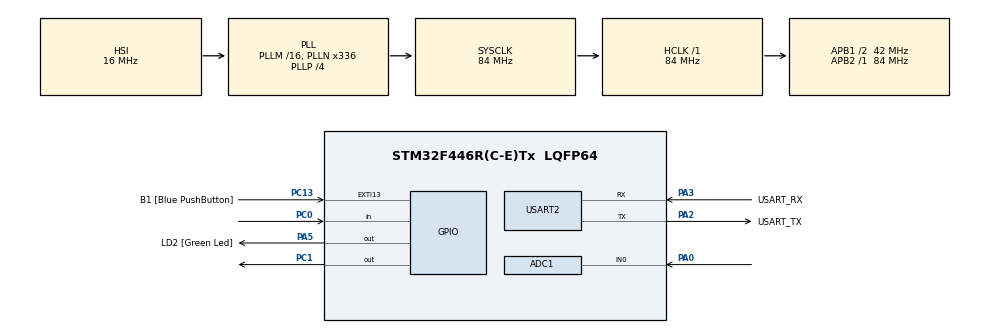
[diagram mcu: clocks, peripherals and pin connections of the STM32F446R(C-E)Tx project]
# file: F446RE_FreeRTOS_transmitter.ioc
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Mcu.Family=STM32F4
PH0-OSC_IN.Signal=RCC_OSC_IN
VP_SYS_VS_tim6.Mode=TIM6
RCC.CortexFreq_Value=84000000
ADC1.ContinuousConvMode=ENABLE
NVIC.TIM6_DAC_IRQn=true\:0\:0\:false\:false\:true\:false\:false\:true
PA14.GPIO_Label=TCK
PC13.GPIO_Label=B1 [Blue PushButton]
RCC.SYSCLKSource=RCC_SYSCLKSOURCE_PLLCLK
ProjectManager.StackSize=0x400
VP_FREERTOS_VS_CMSIS_V2.Mode=CMSIS_V2
RCC.HCLKFreq_Value=84000000
RCC.APB2TimFreq_Value=84000000
RCC.AHBFreq_Value=84000000
PH0-OSC_IN.Mode=HSE-External-Oscillator
RCC.HSE_VALUE=8000000
ADC1.ScanConvMode=DISABLE
PC14-OSC32_IN.Mode=LSE-External-Oscillator
PA14.Mode=Serial_Wire
SH.ADCx_IN0.0=ADC1_IN0,IN0
RCC.FLatency-AdvancedSettings=FLASH_LATENCY_2
PH1-OSC_OUT.Mode=HSE-External-Oscillator
Mcu.Package=LQFP64
NVIC.TimeBase=TIM6_DAC_IRQn
USART2.VirtualMode=VM_ASYNC
PA2.GPIO_Label=USART_TX
NVIC.TimeBaseIP=TIM6
RCC.APB1TimFreq_Value=84000000
PC0.GPIO_PuPd=GPIO_PULLUP
ADC1.EOCSelection=ADC_EOC_SEQ_CONV
PA3.Signal=USART2_RX
PB3.GPIO_Label=SWO
PC15-OSC32_OUT.Mode=LSE-External-Oscillator
FREERTOS.Tasks01=NotUsedTask,8,128,StartNotUsedTask,Default,NULL,Dynamic,NULL,NULL
PC13.Signal=GPXTI13
PC0.Signal=GPIO_Input
RCC.APB1CLKDivider=RCC_HCLK_DIV2
PC14-OSC32_IN.Signal=RCC_OSC32_IN
PA0-WKUP.Signal=ADCx_IN0
PA13.Signal=SYS_JTMS-SWDIO
PA3.Mode=Asynchronous
ProjectManager.TargetToolchain=STM32CubeIDE
ADC1.Channel-1\#ChannelRegularConversion=ADC_CHANNEL_0
RCC.USBFreq_Value=168000000
PC15-OSC32_OUT.Signal=RCC_OSC32_OUT
PA5.Signal=GPIO_Output
board=NUCLEO-F446RE
RCC.VCOOutputFreq_Value=336000000
RCC.APB2Freq_Value=84000000
PH1-OSC_OUT.Signal=RCC_OSC_OUT
ADC1.NbrOfConversion=1
PA13.Mode=Serial_Wire
Mcu.Name=STM32F446R(C-E)Tx
PA13.GPIO_Label=TMS
PA2.Signal=USART2_TX
RCC.48MHZClocksFreq_Value=84000000
PB3.Signal=SYS_JTDO-SWO
ADC1.SamplingTime-1\#ChannelRegularConversion=ADC_SAMPLETIME_112CYCLES
RCC.SYSCLKFreq_VALUE=84000000
ADC1.master=1
PA5.GPIO_Label=LD2 [Green Led]
PC13.GPIO_ModeDefaultEXTI=GPIO_MODE_IT_FALLING
ADC1.Rank-1\#ChannelRegularConversion=1
PA14.Signal=SYS_JTCK-SWCLK
ProjectManager.HeapSize=0x200
RCC.HSI_VALUE=16000000
RCC.PLLP=RCC_PLLP_DIV4
NVIC.PriorityGroup=NVIC_PRIORITYGROUP_4
ADC1.NbrOfConversionFlag=1
RCC.PLLN=336
PA2.Mode=Asynchronous
RCC.APB1Freq_Value=42000000
PC1.Signal=GPIO_Output
PA3.GPIO_Label=USART_RX

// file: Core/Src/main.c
/* USER CODE BEGIN Header */
/**
 ******************************************************************************
 * @file           : main.c
 * @brief          : Main program body
 ******************************************************************************
 * @attention
 *
 * <h2><center>&copy; Copyright (c) 2021 STMicroelectronics.
 * All rights reserved.</center></h2>
 *
 * This software component is licensed by ST under BSD 3-Clause license,
 * the "License"; You may not use this file except in compliance with the
 * License. You may obtain a copy of the License at:
 *                        opensource.org/licenses/BSD-3-Clause
 *
 ******************************************************************************
 */
/* USER CODE END Header */
#include "main.h"
#include "cmsis_os.h"

/* USER CODE BEGIN Includes */
#include <stdio.h>
#include <string.h>
#include "FreeRTOS.h"
#include "queue.h"
#include "semphr.h"
#include "main_defs.h"
#include "protocol.h"
#include "app_sema.h"
#include "app_queue.h"
#include "app_tasks.h"
#include "app_tests.h"
#include "app_uart.h"

/* USER CODE END Includes */

ADC_HandleTypeDef hadc1;

UART_HandleTypeDef huart2;

/* Definitions for NotUsedTask */
osThreadId_t NotUsedTaskHandle;
const osThreadAttr_t NotUsedTask_attributes = {
  .name = "NotUsedTask",
  .stack_size = 128 * 4,
  .priority = (osPriority_t) osPriorityLow,
};
/* USER CODE BEGIN PV */

//osStatus_t buttonSemaphoreStatus;

/* USER CODE END PV */

void SystemClock_Config(void);
static void MX_GPIO_Init(void);
static void MX_USART2_UART_Init(void);
static void MX_ADC1_Init(void);
void StartNotUsedTask(void *argument);

int main(void)
{

  /* MCU Configuration--------------------------------------------------------*/

  /* Reset of all peripherals, Initializes the Flash interface and the Systick. */
  HAL_Init();

  /* Configure the system clock */
  SystemClock_Config();

  /* Initialize all configured peripherals */
  MX_GPIO_Init();
  MX_USART2_UART_Init();
  MX_ADC1_Init();
  /* USER CODE BEGIN 2 */
	sprintf((char *)crlf, "\r\n");
	sizeof_crlf = sizeof_crlf;
	HAL_UART_Transmit(&huart2, crlf, sizeof_crlf, UART_TRANSMIT_MAX_DELAY);

	/* Set the UART handle pointer used by xThread_Safe_UART_Transmit function (app_uart.c) */
	Set_TX_UART_Handle(&huart2);

	/* Set the ADC handle used by xTaskADCvoltageRead task */
	Set_ADC_Handle(hadc1);

	/* Create queues */
	Create_Queues();

	/* Create Mutexes */
	Create_App_Mutexes();

	/* Create Semaphores */
	Create_App_Semaphores();

	/* Create RTOS Tasks */
	Create_App_Tasks();

	/* Test ADC conversion before the FreeRTOS kernel starts */
	testADC1(hadc1, huart2);

  /* USER CODE END 2 */

  /* Init scheduler */
  osKernelInitialize();

  /* Create the thread(s) */
  /* creation of NotUsedTask */
  NotUsedTaskHandle = osThreadNew(StartNotUsedTask, NULL, &NotUsedTask_attributes);

  /* Start scheduler */
  osKernelStart();

  /* We should never get here as control is now taken by the scheduler */
  /* Infinite loop */
	while (1)
	{

	}
}

void SystemClock_Config(void)
{
  RCC_OscInitTypeDef RCC_OscInitStruct = {0};
  RCC_ClkInitTypeDef RCC_ClkInitStruct = {0};

  /** Configure the main internal regulator output voltage
  */
  __HAL_RCC_PWR_CLK_ENABLE();
  __HAL_PWR_VOLTAGESCALING_CONFIG(PWR_REGULATOR_VOLTAGE_SCALE3);
  /** Initializes the RCC Oscillators according to the specified parameters
  * in the RCC_OscInitTypeDef structure.
  */
  RCC_OscInitStruct.OscillatorType = RCC_OSCILLATORTYPE_HSI;
  RCC_OscInitStruct.HSIState = RCC_HSI_ON;
  RCC_OscInitStruct.HSICalibrationValue = RCC_HSICALIBRATION_DEFAULT;
  RCC_OscInitStruct.PLL.PLLState = RCC_PLL_ON;
  RCC_OscInitStruct.PLL.PLLSource = RCC_PLLSOURCE_HSI;
  RCC_OscInitStruct.PLL.PLLM = 16;
  RCC_OscInitStruct.PLL.PLLN = 336;
  RCC_OscInitStruct.PLL.PLLP = RCC_PLLP_DIV4;
  RCC_OscInitStruct.PLL.PLLQ = 2;
  RCC_OscInitStruct.PLL.PLLR = 2;
  if (HAL_RCC_OscConfig(&RCC_OscInitStruct) != HAL_OK)
  {
    Error_Handler();
  }
  /** Initializes the CPU, AHB and APB buses clocks
  */
  RCC_ClkInitStruct.ClockType = RCC_CLOCKTYPE_HCLK|RCC_CLOCKTYPE_SYSCLK
                              |RCC_CLOCKTYPE_PCLK1|RCC_CLOCKTYPE_PCLK2;
  RCC_ClkInitStruct.SYSCLKSource = RCC_SYSCLKSOURCE_PLLCLK;
  RCC_ClkInitStruct.AHBCLKDivider = RCC_SYSCLK_DIV1;
  RCC_ClkInitStruct.APB1CLKDivider = RCC_HCLK_DIV2;
  RCC_ClkInitStruct.APB2CLKDivider = RCC_HCLK_DIV1;

  if (HAL_RCC_ClockConfig(&RCC_ClkInitStruct, FLASH_LATENCY_2) != HAL_OK)
  {
    Error_Handler();
  }
}

static void MX_ADC1_Init(void)
{

  ADC_ChannelConfTypeDef sConfig = {0};

  /** Configure the global features of the ADC (Clock, Resolution, Data Alignment and number of conversion)
  */
  hadc1.Instance = ADC1;
  hadc1.Init.ClockPrescaler = ADC_CLOCK_SYNC_PCLK_DIV4;
  hadc1.Init.Resolution = ADC_RESOLUTION_12B;
  hadc1.Init.ScanConvMode = DISABLE;
  hadc1.Init.ContinuousConvMode = ENABLE;
  hadc1.Init.DiscontinuousConvMode = DISABLE;
  hadc1.Init.ExternalTrigConvEdge = ADC_EXTERNALTRIGCONVEDGE_NONE;
  hadc1.Init.ExternalTrigConv = ADC_SOFTWARE_START;
  hadc1.Init.DataAlign = ADC_DATAALIGN_RIGHT;
  hadc1.Init.NbrOfConversion = 1;
  hadc1.Init.DMAContinuousRequests = DISABLE;
  hadc1.Init.EOCSelection = ADC_EOC_SEQ_CONV;
  if (HAL_ADC_Init(&hadc1) != HAL_OK)
  {
    Error_Handler();
  }
  /** Configure for the selected ADC regular channel its corresponding rank in the sequencer and its sample time.
  */
  sConfig.Channel = ADC_CHANNEL_0;
  sConfig.Rank = 1;
  sConfig.SamplingTime = ADC_SAMPLETIME_112CYCLES;
  if (HAL_ADC_ConfigChannel(&hadc1, &sConfig) != HAL_OK)
  {
    Error_Handler();
  }

}

static void MX_USART2_UART_Init(void)
{

  huart2.Instance = USART2;
  huart2.Init.BaudRate = 115200;
  huart2.Init.WordLength = UART_WORDLENGTH_8B;
  huart2.Init.StopBits = UART_STOPBITS_1;
  huart2.Init.Parity = UART_PARITY_NONE;
  huart2.Init.Mode = UART_MODE_TX_RX;
  huart2.Init.HwFlowCtl = UART_HWCONTROL_NONE;
  huart2.Init.OverSampling = UART_OVERSAMPLING_16;
  if (HAL_UART_Init(&huart2) != HAL_OK)
  {
    Error_Handler();
  }

}

static void MX_GPIO_Init(void)
{
  GPIO_InitTypeDef GPIO_InitStruct = {0};

  /* GPIO Ports Clock Enable */
  __HAL_RCC_GPIOC_CLK_ENABLE();
  __HAL_RCC_GPIOH_CLK_ENABLE();
  __HAL_RCC_GPIOA_CLK_ENABLE();
  __HAL_RCC_GPIOB_CLK_ENABLE();

  /*Configure GPIO pin Output Level */
  HAL_GPIO_WritePin(GPIOC, GPIO_PIN_1, GPIO_PIN_RESET);

  /*Configure GPIO pin Output Level */
  HAL_GPIO_WritePin(LD2_GPIO_Port, LD2_Pin, GPIO_PIN_RESET);

  /*Configure GPIO pin : B1_Pin */
  GPIO_InitStruct.Pin = B1_Pin;
  GPIO_InitStruct.Mode = GPIO_MODE_IT_FALLING;
  GPIO_InitStruct.Pull = GPIO_NOPULL;
  HAL_GPIO_Init(B1_GPIO_Port, &GPIO_InitStruct);

  /*Configure GPIO pin : PC0 */
  GPIO_InitStruct.Pin = GPIO_PIN_0;
  GPIO_InitStruct.Mode = GPIO_MODE_INPUT;
  GPIO_InitStruct.Pull = GPIO_PULLUP;
  HAL_GPIO_Init(GPIOC, &GPIO_InitStruct);

  /*Configure GPIO pin : PC1 */
  GPIO_InitStruct.Pin = GPIO_PIN_1;
  GPIO_InitStruct.Mode = GPIO_MODE_OUTPUT_PP;
  GPIO_InitStruct.Pull = GPIO_NOPULL;
  GPIO_InitStruct.Speed = GPIO_SPEED_FREQ_LOW;
  HAL_GPIO_Init(GPIOC, &GPIO_InitStruct);

  /*Configure GPIO pin : LD2_Pin */
  GPIO_InitStruct.Pin = LD2_Pin;
  GPIO_InitStruct.Mode = GPIO_MODE_OUTPUT_PP;
  GPIO_InitStruct.Pull = GPIO_NOPULL;
  GPIO_InitStruct.Speed = GPIO_SPEED_FREQ_LOW;
  HAL_GPIO_Init(LD2_GPIO_Port, &GPIO_InitStruct);

}

void StartNotUsedTask(void *argument)
{
	for(;;)
	{
		osDelay(1);
	}
}

 /**
  * @brief  Period elapsed callback in non blocking mode
  * @note   This function is called  when TIM6 interrupt took place, inside
  * HAL_TIM_IRQHandler(). It makes a direct call to HAL_IncTick() to increment
  * a global variable "uwTick" used as application time base.
  * @param  htim : TIM handle
  * @retval None
  */
void HAL_TIM_PeriodElapsedCallback(TIM_HandleTypeDef *htim)
{
  if (htim->Instance == TIM6) {
    HAL_IncTick();
  }
}

void Error_Handler(void)
{
	__disable_irq();
	while (1)
	{
	}
}

/************************ (C) COPYRIGHT STMicroelectronics *****END OF FILE****/
